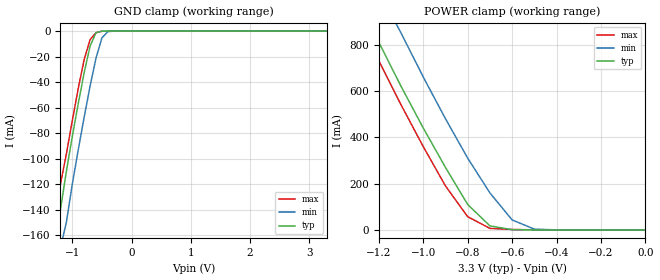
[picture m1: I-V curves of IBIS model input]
| [Disclaimer] YOU UNDERSTAND THIS INFORMATION HAS NOT BEEN
| TESTED BY AMD.  THIS INFORMATION MAY CONTAIN
| TYPOGRAPHICAL ERRORS AND TECHNICAL
| INACCURACIES.  THIS INFORMATION IS FOR
| NONCOMMERCIAL MODELING PURPOSES ONLY AND IS
| PROVIDED AND ACCEPTED "WHERE IS" AND "AS IS" WITH
| NO WARRANTY, INDEMNITY, OR FURTHER OBLIGATION.
| AMD DOES NOT WARRANT THAT THIS INFORATION IS
| WITHOUT DEFECT OR THAT THE OPERATION OF THE
| TECHNOLOGY WILL BE UNINTERRUPTED OR ERROR-FREE.
| ALL RISK ARISING OUT OF USE OF THIS INFORMATION
| REMAINS WITH YOU.  AMD DISCLAIMS ANY AND ALL
| WARRANTIES RELATING TO THIS INFORMATION, EXPRESS
| OR IMPLIED, INCLUDING BUT NOT LIMITED TO ANY
| IMPLIED WARRANTIES OF NONINFRINGEMENT OF THIRD
| PARTY RIGHTS, FITNESS FOR A PARTICULAR PURPOSE OR
| MERCHANTABILITY.  TO THE MAXIMAL EXTENT
| ALLOWABLE BY LAW, AMD WILL NOT BE LIABLE FOR ANY
| DIRECT, SPECIAL, INCIDENTAL, INDIRECT, INCIDENTAL, OR
| CONSEQUENTIAL DAMAGES WHATSOEVER EVEN IF AMD
| HAS BEEN ADVISED OF THE POSSIBILITY OF SUCH
| DAMAGES.  YOUR USE OF THIS INFORMATION IS
| CONTINGENT UPON YOUR ACCEPTANCE OF THESE TERMS.
| AMD RESERVES THE RIGHT TO MODIFY AND/OR
| WITHDRAW THIS INFORMATION AT ANY TIME FOR ANY OR
| NO REASON.
| [Copyright] Copyright 2002 Advanced Micro Devices
| All Rights Reserved
| From au1000.ibs, AU1000, Alchemy Semiconductor Inc.
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|   Model input
[Model]   input
Model_type   Input
Polarity   Non-Inverting
Vinl = 0.660V
Vinh = 2.640V
C_comp   1.25pF   1.20pF   1.30pF
[Temperature Range]   27.00   100.00   0.000
[Voltage Range]   3.30V   3.00V   3.60V
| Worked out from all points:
|   GND clamp passes 1 mA (typ) near -0.58 V on its own axis
|   POWER clamp passes 1 mA (typ) near -0.58 V on its own axis
[GND_clamp]
| voltage   I(typ)   I(min)   I(max)
-3.3V     -720mA     -760mA     -710mA
-1.4V     -190mA     -230mA     -180mA
-1.3V     -160mA     -200mA     -150mA
-1.2V     -140mA     -170mA     -120mA
-1.1V     -110mA     -150mA     -96.36mA
-1V       -82.72mA   -120mA     -70.17mA
-800mV    -32.65mA   -67.63mA   -22.37mA
-700mV    -11.86mA   -43.2mA    -6.68mA
-600mV    -1.23mA    -21.19mA   -1.3mA
-500mV    -49.23uA   -5.33mA    -130uA
-400mV    -2.14uA    -410uA     -6.5uA
3.3V      10pA       1.04nA     -10pA
[POWER_clamp]
| voltage   I(typ)   I(min)   I(max)
-3.3V     4.75A      4.92A      4.69A
-1.3V     1A         1.22A      920mA
-1.2V     810mA      1.03A      730mA
-1.1V     620mA      850mA      540mA
-1V       440mA      660mA      360mA
-900mV    270mA      480mA      190mA
-800mV    110mA      310mA      57.26mA
-700mV    17.65mA    160mA      6.88mA
-600mV    1.22mA     43.35mA    2.16mA
-500mV    120uA      3.64mA     500uA
-400mV    9.35uA     180uA      38.34uA
0V        50pA       1.95nA     80pA
